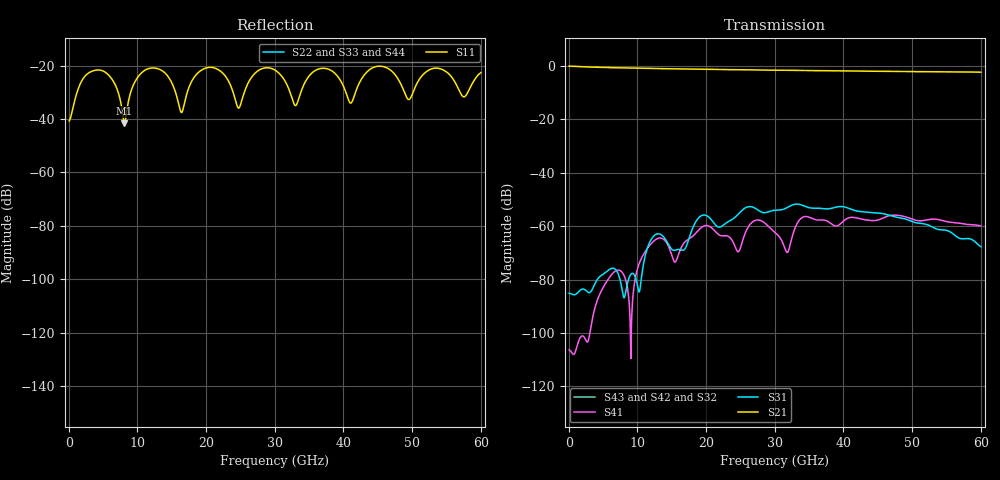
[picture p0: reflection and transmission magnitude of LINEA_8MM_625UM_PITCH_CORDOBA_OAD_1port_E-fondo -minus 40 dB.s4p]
! TOUCHSTONE file generated by CST MICROWAVE STUDIO
! Date and time: Thu Nov  5 08:35:11 2026
! Project name: LINEA_8MM_625UM_PITCH_CORDOBA_OAD_1port_E-fondo -minus 40 dB.cst
! Parameters = {CHANNEL_PITCH=0.625; GAP=0.00415; L=8; L1=0.02; L2=0.086; L3=0.066; NCELL=1; PITCH=0.18; START_POSITION=0.13; W1=0.003; W2=0.004; W3=0.009; WG=0.04985; gap_oxr=0.00125; linbo3_thickness=0.0002; mtx=0.002; oxiDinE=0.0014; w=0.185; ws=0.035}
! Header version: 2024
! Port assignment regex: !\s*Touchstone port\s*([0-9]+)\s*=\s*(CST MWS port|CST DES external port|CST DES block port)\s*(.+)\s* \(\"(.*)\"\)(\s*mode\s*([0-9]+))?.*
! Touchstone port assignment:
! Touchstone port 1 = CST MWS port 1 ("")
! Touchstone port 2 = CST MWS port 2 ("")
! Touchstone port 3 = CST MWS port 3 ("")
! Touchstone port 4 = CST MWS port 4 ("")
# GHz S MA R 50
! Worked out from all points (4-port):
!   1000 points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, 60 MHz to 60 GHz, reference 50 ohm
!   strongest paths, dB at 60 MHz, 15.06 GHz, 30.06 GHz, 45.06 GHz, 60 GHz:
!     S21: -0.1, -1.1, -1.6, -2.0, -2.3
!     S31: -85.1, -68.8, -54.0, -55.1, -67.7
!     S41: -106.3, -71.4, -62.4, -57.7, -59.9
!     S43: -, -, -, -, -
!     S42: -, -, -, -, -
!     S32: -, -, -, -, -
!   lowest |S11| = -41.6 dB at 8.1 GHz (marker M1), VSWR 1.02, Z = 49.2 - j0.177 ohm
!   |S11| at or under -10 dB: start of sweep to end of sweep
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0.06  0.009202 -6.3  0 0.0  0 0.0  0 0.0
      0.9908 -1.4  0 0.0  0 0.0  0 0.0
      5.536e-05 -9.4  0 0.0  0 0.0  0 0.0
      4.833e-06 170.8  0 0.0  0 0.0  0 0.0
8.1  0.008284 -167.5  0 0.0  0 0.0  0 0.0
     0.9204 -177.2  0 0.0  0 0.0  0 0.0
     4.578e-05 -0.9  0 0.0  0 0.0  0 0.0
     0.0001157 135.1  0 0.0  0 0.0  0 0.0
16.56  0.0141 -146.4  0 0.0  0 0.0  0 0.0
       0.8806 1.1  0 0.0  0 0.0  0 0.0
       0.0003548 0.3  0 0.0  0 0.0  0 0.0
       0.0004383 -25.1  0 0.0  0 0.0  0 0.0
24.72  0.01605 -166.6  0 0.0  0 0.0  0 0.0
       0.8511 -173.5  0 0.0  0 0.0  0 0.0
       0.001698 -25.2  0 0.0  0 0.0  0 0.0
       0.0003332 21.1  0 0.0  0 0.0  0 0.0
33.36  0.02147 -134.3  0 0.0  0 0.0  0 0.0
       0.826 1.7  0 0.0  0 0.0  0 0.0
       0.002588 -105.5  0 0.0  0 0.0  0 0.0
       0.001186 22.8  0 0.0  0 0.0  0 0.0
41.34  0.02246 -134.4  0 0.0  0 0.0  0 0.0
       0.8062 -168.9  0 0.0  0 0.0  0 0.0
       0.002023 -137.6  0 0.0  0 0.0  0 0.0
       0.001464 151.4  0 0.0  0 0.0  0 0.0
60  0.07431 -125.1  0 0.0  0 0.0  0 0.0
    0.7649 151.6  0 0.0  0 0.0  0 0.0
    0.0004113 -5.0  0 0.0  0 0.0  0 0.0
    0.00101 71.4  0 0.0  0 0.0  0 0.0
